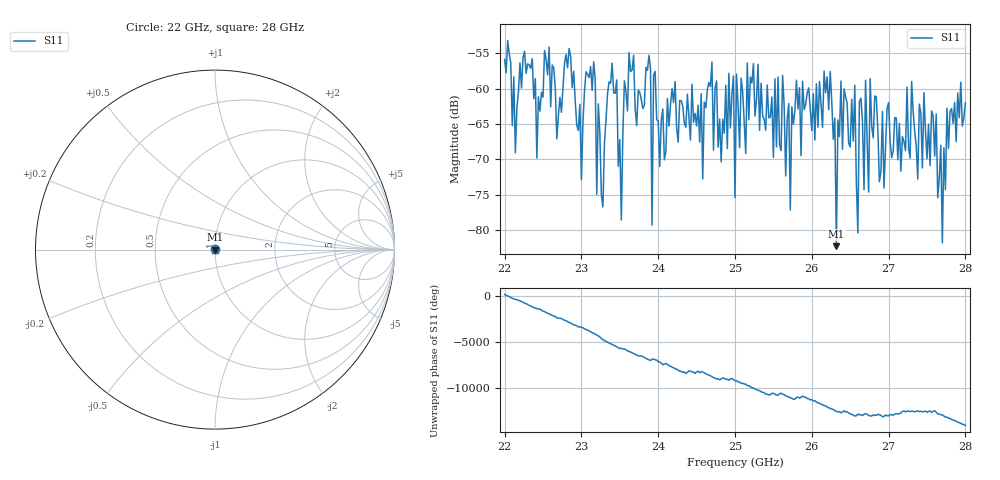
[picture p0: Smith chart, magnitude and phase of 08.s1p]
#  HZ  S  RI  R  50.00
! Rohde & Schwarz ZVA40 4Ports - Version 3.90 - 1145.1110k42 SN: 100403
! Date: 2023-10-04 09:36:11
! Measurement: S12
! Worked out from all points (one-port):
!   301 points, 22 GHz to 28 GHz, reference 50 ohm
!   lowest |S11| = -82.3 dB at 26.32 GHz (marker M1), VSWR 1.00, Z = 50 + j0.00213 ohm
!   |S11| at or under -10 dB: start of sweep to end of sweep
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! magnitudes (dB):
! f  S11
! 22 GHz  -55.9
! 22.14 GHz  -69.1
! 22.26 GHz  -54.7
! 22.42 GHz  -69.8
! 22.52 GHz  -54.6
! 22.76 GHz  -59.9
! 23.5 GHz  -67.2
! 23.52 GHz  -78.6
! 23.62 GHz  -54.9
! 23.88 GHz  -55.3
! 23.92 GHz  -79.3
! 23.94 GHz  -58.1
! 24.26 GHz  -67.6
! 24.98 GHz  -58.2
! 25 GHz  -75.4
! 25.02 GHz  -57.9
! 25.62 GHz  -58.1
! 25.72 GHz  -77.2
! 25.76 GHz  -65.0
! 26.24 GHz  -57.6
! 26.32 GHz  -82.3
! 26.38 GHz  -58.9
! 26.5 GHz  -68.3
! 27.26 GHz  -68.4
! 27.62 GHz  -63.6
! 27.7 GHz  -81.8
! 27.76 GHz  -62.8
! 28 GHz  -62.0
